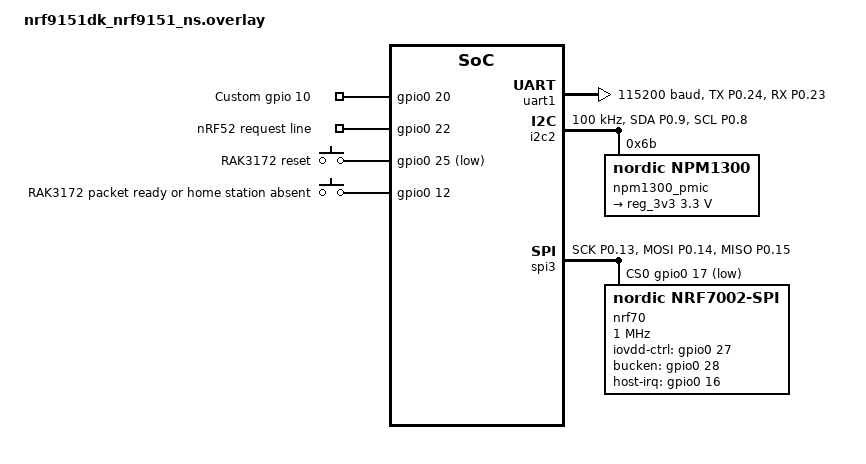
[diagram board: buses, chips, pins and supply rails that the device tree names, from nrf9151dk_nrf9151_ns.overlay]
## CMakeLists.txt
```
cmake_minimum_required(VERSION 3.20)

find_package(Zephyr REQUIRED HINTS $ENV{ZEPHYR_BASE})
project(find_my_cat)

zephyr_library_sources(src/main.c)

# Link all external dependencies

target_sources(app PRIVATE src/LocationEngine/LocationEngine.c)
target_sources(app PRIVATE src/LocationEngine/LocationEngine.h)
target_sources_ifdef(CONFIG_FINDMYCAT_GNSS_ASSISTANCE_SUPL app PRIVATE src/LocationEngine/supl_assistance.c)

target_sources(app PRIVATE src/SmsListener/SmsListener.c)
target_sources(app PRIVATE src/SmsListener/SmsListener.h)

target_sources(app PRIVATE src/UDPListener/UDPListener.c)
target_sources(app PRIVATE src/UDPListener/UDPListener.h)

target_sources(app PRIVATE src/Dispatcher/Dispatcher.c)
target_sources(app PRIVATE src/Dispatcher/Dispatcher.h)


target_sources(app PRIVATE src/Responder/Responder.c)
target_sources(app PRIVATE src/Responder/Responder.h)

target_sources(app PRIVATE src/DeviceSettings/device_settings.c)
target_sources(app PRIVATE src/DeviceSettings/device_settings.h)

target_sources(app PRIVATE src/DeviceStatus/device_status_reporting.c)
target_sources(app PRIVATE src/DeviceStatus/device_status_reporting.h)

target_sources(app PRIVATE src/mqtt/mqttsn.c)
target_sources(app PRIVATE src/mqtt/mqttsn.h)

target_sources(app PRIVATE src/utils/network.c)
target_sources(app PRIVATE src/utils/network.h)

target_sources(app PRIVATE src/LTE/lte.c)
target_sources(app PRIVATE src/LTE/lte.h)

target_sources(app PRIVATE src/SelfRecovery/self_recovery.c)
target_sources(app PRIVATE src/SelfRecovery/self_recovery.h)

target_sources(app PRIVATE src/FOTA/fota.c)
target_sources(app PRIVATE src/FOTA/fota.h)

target_sources(app PRIVATE src/Presence/presence.c)
target_sources(app PRIVATE src/Presence/presence.h)

target_sources(app PRIVATE src/Link/link_orchestrator.c)
target_sources(app PRIVATE src/Link/link_orchestrator.h)

target_sources(app PRIVATE src/LoRa/rak3172.c)
target_sources(app PRIVATE src/LoRa/rak3172.h)

target_sources(app PRIVATE src/LoRa/lora_frame.c)
target_sources(app PRIVATE src/LoRa/lora_frame.h)

target_sources_ifdef(CONFIG_LORA_LINK app PRIVATE src/LoRa/lora_link.c)
target_sources_ifdef(CONFIG_LORA_LINK app PRIVATE src/LoRa/lora_link.h)

target_sources(app PRIVATE src/communication_channels/transport.c)
target_sources(app PRIVATE src/communication_channels/transport.h)

target_sources(app PRIVATE src/WiFi/wifi_location.c)
target_sources(app PRIVATE src/WiFi/wifi_location.h)

target_sources(app PRIVATE src/WiFi/wifi_scan.c)
target_sources(app PRIVATE src/WiFi/wifi_scan.h)

target_sources(app PRIVATE src/CellScan/cell_scan.c)
target_sources(app PRIVATE src/CellScan/cell_scan.h)

target_sources(app PRIVATE src/FuelGauge/fuel_gauge.c)
target_sources(app PRIVATE src/FuelGauge/fuel_gauge.h)

target_sources(app PRIVATE src/led/led.c)
target_sources(app PRIVATE src/led/led.h)

target_sources(app PRIVATE src/shared.h)

# Diagnostics related sources.
target_sources_ifdef(CONFIG_FINDMYCAT_DIAGNOSTICS app PRIVATE src/Diagnostics/diagnostics.c)
target_sources_ifdef(CONFIG_FINDMYCAT_DIAGNOSTICS app PRIVATE src/Diagnostics/diagnostics.h)
target_sources_ifdef(CONFIG_FINDMYCAT_DIAGNOSTICS app PRIVATE src/FuelGauge/diagnostics.c)
target_sources_ifdef(CONFIG_FINDMYCAT_DIAGNOSTICS app PRIVATE src/FuelGauge/diagnostics.h)
target_sources_ifdef(CONFIG_FINDMYCAT_DIAGNOSTICS app PRIVATE src/LTE/diagnostics.c)
target_sources_ifdef(CONFIG_FINDMYCAT_DIAGNOSTICS app PRIVATE src/LTE/diagnostics.h)
target_sources_ifdef(CONFIG_FINDMYCAT_DIAGNOSTICS app PRIVATE src/communication_channels/diagnostics.c)
target_sources_ifdef(CONFIG_FINDMYCAT_DIAGNOSTICS app PRIVATE src/communication_channels/nrf52_diagnostics.c)
target_sources_ifdef(CONFIG_FINDMYCAT_DIAGNOSTICS app PRIVATE src/communication_channels/nrf52_diagnostics.h)
target_sources_ifdef(CONFIG_FINDMYCAT_DIAGNOSTICS app PRIVATE src/WiFi/diagnostics.c)
target_sources_ifdef(CONFIG_FINDMYCAT_DIAGNOSTICS app PRIVATE src/WiFi/diagnostics.h)
target_sources_ifdef(CONFIG_FINDMYCAT_DIAGNOSTICS app PRIVATE src/LocationEngine/diagnostics.c)
target_sources_ifdef(CONFIG_FINDMYCAT_DIAGNOSTICS app PRIVATE src/LocationEngine/diagnostics.h)
target_sources_ifdef(CONFIG_FINDMYCAT_DIAGNOSTICS app PRIVATE src/communication_channels/diagnostics.h)

target_sources(app PRIVATE src/communication_channels/nrf52_link.c)
target_sources(app PRIVATE src/communication_channels/nrf52_link.h)
```

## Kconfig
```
menu "FindMyCat Build Time Configuration options"

config FINDMYCAT_DIAGNOSTICS
	bool "Print self diagnostics for each major feature/component."
	select LED

config FINDMYCAT_LOW_POWER_HOLD
	bool "Holds the firmware at the lowest power, this can be used to verify current leaks in the hardware."
	select FINDMYCAT_DIAGNOSTICS

config FINDMYCAT_LOW_POWER_HOLD_EDRX
	bool "Keep LTE attached in eDRX during the low power hold"
	depends on FINDMYCAT_LOW_POWER_HOLD
	help
	  Everything else stays down, so the measured current is the floor
	  plus the modem idling in eDRX.

config FINDMYCAT_FORCE_LTE_LINK
	bool "Always use LTE to reach the home station, skipping BLE and LoRa"
	help
	  For testing the LTE path at home: LTE attaches at boot and stays up
	  in eDRX, LoRa CAD stays off, and the BLE pin no longer changes the
	  link or the modem's power mode.


config FINDMYCAT_CLOUD_HOSTNAME
	string "Default Hostname of the FindMyCat Cloud, this can be overriden using the iOS/Android App"

module = FINDMYCAT_LTE
module-str = LTE
source "subsys/logging/Kconfig.template.log_config"

# LTE
config FINDMYCAT_LTE_OPERATOR
	string "PLMN to lock the attach to, empty for automatic selection"
	default ""
	help
	  For comparing carriers, e.g. "310410" for AT&T. The modem stores
	  manual selection, so an empty value sets it back to automatic.

config FINDMYCAT_FOTA_HOST
	string "Host the update command downloads firmware from"
	default "https://api.findmycat.io"

config FINDMYCAT_FOTA_FILE
	string "Path of the signed update image on that host"
	default "api/firmware/app_update.bin"

config LTE_CONNECT_RETRY_DELAY_S
	int "Seconds to delay before attempting to retry LTE connection"
	default 20

config LTE_CONNECT_MAX_RETRIES
	int "Max retry attempts for LTE connection"
	default 4

# MQTT-SN
config MQTT_SN_GATEWAY_ID
	int "Id of the MQTT-SN gateway"
	default 1
	help
	  Must match mqtt.sn.gateway_id in the broker's emqx_sn.conf.

config MQTT_SN_GATEWAY_PORT
	int "Port of the MQTT-SN gateway"

config MQTT_SN_BUFFER_SIZE
	int "Size of the TX and RX buffers"
	default 255

config MQTT_SN_LOCATION_TOPIC
	string "MQTT Topic positions are published to"
	default "/location"

config MQTT_SN_STATUS_TOPIC
	string "MQTT Topic device status is published to"
	default "/status"

config MQTT_SN_WIFI_SCAN_TOPIC
	string "MQTT Topic raw WiFi scans are published to over LTE, for the server to resolve"
	default "/wifi-scan"

config MQTT_SN_CELL_SCAN_TOPIC
	string "MQTT Topic raw LTE cell scans are published to, for the server to resolve"
	default "/cell-scan"

config MQTT_SN_REFRESH_PERIOD_SECONDS
	int "MQTT-SN refresh period in seconds"
	default 60

# Location Services.
config LOCATION_SERVICES_INIT_MAX_RETRIES
	int "Max retry attempts for location services initialization"
	default 4

config LOCATION_SERVICES_INIT_RETRY_DELAY_S
	int "Seconds to delay before attempting to retry location services initialization"
	default 20

config FINDMYCAT_GNSS_ASSISTANCE_SUPL
	bool "Fetch GNSS assistance from a SUPL server over LTE"
	select SUPL_CLIENT_LIB
	select LOCATION_SERVICE_EXTERNAL
	select NRF_CLOUD_AGNSS

if FINDMYCAT_GNSS_ASSISTANCE_SUPL

config FINDMYCAT_SUPL_SERVER_HOSTNAME
	string "SUPL server hostname"
	default "supl.google.com"

config FINDMYCAT_SUPL_SERVER_PORT
	int "SUPL server port"
	default 7276
	help
	  7276 is plain TCP on Google's server; 7275 is the TLS port.

endif # FINDMYCAT_GNSS_ASSISTANCE_SUPL

config ACTIVE_MODE_LOCATION_REFRESH_PERIOD_SECONDS
	int "Location refresh period in seconds for Active Mode"
	default 1800	

config LOST_MODE_LOCATION_REFRESH_PERIOD_SECONDS
	int "Location refresh period in seconds for Lost Mode"
	default 30

config SPOOF_PING_BASE_LATITUDE_MICRODEGREES
	int "Latitude a test ping reports, in millionths of a degree"
	default 37423021

config SPOOF_PING_BASE_LONGITUDE_MICRODEGREES
	int "Longitude a test ping reports, in millionths of a degree"
	default -122083739

config SPOOF_PING_JITTER_MICRODEGREES
	int "Random spread applied to a test ping position"
	default 1000

# LORA
config LORA_LINK
	bool "Answer pings over LoRa from the home station"

config LORA_LINK_CAD_SYMBOLS
	int "CAD symbol count index (0=1, 1=2, 2=4, 3=8, 4=16)"
	depends on LORA_LINK
	default 1

config LORA_LINK_CAD_DET_PEAK
	int "CAD detection peak threshold"
	depends on LORA_LINK
	default 22

config LORA_LINK_CAD_DET_MIN
	int "CAD detection minimum"
	depends on LORA_LINK
	default 10

config LORA_LINK_CAD_INTERVAL_MS
	int "Sniff interval in milliseconds"
	depends on LORA_LINK
	default 450

config LORA_LINK_PEER_PREAMBLE
	int "Preamble length in symbols the home station transmits with"
	depends on LORA_LINK
	default 512

config LORA_LINK_CAD_PIN
	int "RUI3 pin number the RAK3172 raises when a packet is buffered"
	default 9

config LORA_LINK_ABSENCE_S
	int "Seconds without a CAD detection before the home station counts as absent"
	depends on LORA_LINK
	default 35

config LORA_LINK_BURST_MS
	int "Milliseconds of CAD sniffing per cycle, 0 to sniff continuously"
	depends on LORA_LINK
	default 1500

config LORA_LINK_BURST_PERIOD_S
	int "Seconds from the start of one sniff burst to the start of the next"
	depends on LORA_LINK
	default 30

config LORA_LINK_HEARTBEAT_S
	int "Seconds between module-sent heartbeats to the station, 0 for none"
	depends on LORA_LINK
	default 60
	help
	  Sent by the RAK3172 itself (AT+HBEAT) at a sniff burst start, so it
	  rounds up to whole burst periods. The station replies inside that
	  burst with a beacon, or a ping when a locate is pending, so this is
	  both the locate latency and the presence refresh. Keep it well under
	  CONFIG_LORA_LINK_ABSENCE_S.

endmenu

menu "Zephyr Kernel"
source "Kconfig.zephyr"
endmenu

module = FINDMYCAT_OUTDOOR_LOCATION_ENGINE
module-str = FindMyCat outdoor location engine
source "${ZEPHYR_BASE}/subsys/logging/Kconfig.template.log_config"
```

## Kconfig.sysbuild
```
config WIFI_NRF70
	default y if BOARD_THINGY91X_NRF9151_NS
	default y if BOARD_NRF9151DK_NRF9151_NS

choice WIFI_NRF70_OPER_MODES
	default WIFI_NRF70_SCAN_ONLY if BOARD_THINGY91X_NRF9151_NS
	default WIFI_NRF70_SCAN_ONLY if BOARD_NRF9151DK_NRF9151_NS
endchoice

source "share/sysbuild/Kconfig"
```

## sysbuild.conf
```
# MCUboot so the app can be updated over the network. Swap-using-move keeps the
# old image to roll back to; both slots live in internal flash.
SB_CONFIG_BOOTLOADER_MCUBOOT=y
SB_CONFIG_MCUBOOT_MODE_SWAP_USING_MOVE=y

# Without a key of our own MCUboot signs with its public development key, so
# anyone could sign an image the collar accepts. Before shipping:
#   imgtool keygen -k ~/findmycat-keys/mcuboot-ecdsa-p256.pem -t ecdsa-p256
# then uncomment and point at it (keep the key out of git):
# SB_CONFIG_BOOT_SIGNATURE_KEY_FILE="/Users/<you>/findmycat-keys/mcuboot-ecdsa-p256.pem"
```

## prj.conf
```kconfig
# General config
CONFIG_FPU=y
CONFIG_NEWLIB_LIBC=y
CONFIG_POSIX_THREADS=y
CONFIG_NEWLIB_LIBC_FLOAT_PRINTF=y
CONFIG_NRF_MODEM_LIB=y
CONFIG_CJSON_LIB=y
CONFIG_SMS=y
CONFIG_SMS_SUBSCRIBERS_MAX_CNT=2
CONFIG_GPIO=y
CONFIG_DATE_TIME=y # Library that maintains the current date time UTC for A-GPS and P-GPS purposes

# nPM1300 fuel gauge
CONFIG_SENSOR=y
CONFIG_LED=y
CONFIG_NRF_FUEL_GAUGE=y

# MQTT-SN config
CONFIG_MQTT_SN_LIB=y
CONFIG_MQTT_SN_TRANSPORT_UDP=y
CONFIG_FINDMYCAT_CLOUD_HOSTNAME="your-findmycat-cloud-hostname"
CONFIG_MQTT_SN_GATEWAY_PORT=1885
CONFIG_MQTT_SN_LOCATION_TOPIC="/location"
CONFIG_MQTT_SN_STATUS_TOPIC="/status"

# nRF Cloud (for A-GNSS and cell location)
CONFIG_NRF_CLOUD=y
# TODO: migrate to CONFIG_NRF_CLOUD_COAP - NRF_CLOUD_REST is deprecated in NCS 3.2.x
CONFIG_NRF_CLOUD_REST=y
CONFIG_MODEM_INFO=y # required by CONFIG_NRF_CLOUD_AGNSS
CONFIG_MODEM_INFO_ADD_NETWORK=y # required by CONFIG_NRF_CLOUD_AGNSS

CONFIG_NET_LOG=y
CONFIG_NRF_CLOUD_LOG_LEVEL_DBG=y
CONFIG_NRF_CLOUD_CLIENT_ID_SRC_IMEI=n
CONFIG_NRF_CLOUD_CLIENT_ID_PREFIX=""
CONFIG_NRF_CLOUD_CLIENT_ID_SRC_INTERNAL_UUID=y

# Heap and stacks
CONFIG_SEGGER_RTT_BUFFER_SIZE_UP=4096
CONFIG_MAIN_STACK_SIZE=4096
# Extended memory heap size needed for encoding REST messages to JSON
CONFIG_HEAP_MEM_POOL_SIZE=8192
CONFIG_SYSTEM_WORKQUEUE_STACK_SIZE=1536
# Increase AT monitor heap because %NCELLMEAS notifications can be large
CONFIG_AT_MONITOR_HEAP_SIZE=1024

# Location library
CONFIG_LOCATION=y
CONFIG_LOCATION_DATA_DETAILS=y

# Network
CONFIG_NETWORKING=y
CONFIG_NET_NATIVE=n
CONFIG_NET_SOCKETS=y
CONFIG_NET_SOCKETS_OFFLOAD=y
CONFIG_NET_IPV6=n
CONFIG_NET_IPV4=n

# LTE link control
CONFIG_LTE_LINK_CONTROL=y
CONFIG_LTE_NETWORK_MODE_LTE_M_GPS=y
CONFIG_LTE_LC_EDRX_MODULE=y
CONFIG_LTE_LC_PSM_MODULE=y
# eDRX
CONFIG_LTE_EDRX_REQ=y
CONFIG_LTE_EDRX_REQ_VALUE_LTE_M="0101"
CONFIG_LTE_PTW_VALUE_LTE_M="0000"
# RAI
CONFIG_LTE_LC_RAI_MODULE=y
CONFIG_LTE_RAI_REQ=y
# Signal and CE level for the diagnostics and power hold
CONFIG_LTE_LC_CONN_EVAL_MODULE=y
# Cell measurements for ping-cell
CONFIG_LTE_LC_NEIGHBOR_CELL_MEAS_MODULE=y

# AT Host library - Used to send AT commands directy from an UART terminal and to allow
#		    integration with nRF Connect for Desktop LTE Link monitor application.
CONFIG_UART_INTERRUPT_DRIVEN=y
CONFIG_RING_BUFFER=y
CONFIG_AT_HOST_LIBRARY=n

# Uncomment the below and set above to "n" to test no - assisted gps.
# TODO: can we use external AGPS service that is free?
# CONFIG_LOCATION_SERVICE_EXTERNAL=y
# CONFIG_MULTICELL_LOCATION_SERVICE_NRF_CLOUD=n
# CONFIG_LOCATION_SERVICE_NRF_CLOUD=n

# Modem JWT
CONFIG_MODEM_JWT=y
CONFIG_MODEM_KEY_MGMT=y
CONFIG_HW_ID_LIBRARY=y

# Device power management (allows UART to be suspended between sends)
CONFIG_PM_DEVICE=y
CONFIG_PM_DEVICE_RUNTIME=y

# Refresh rates
CONFIG_MQTT_SN_REFRESH_PERIOD_SECONDS=5
CONFIG_ACTIVE_MODE_LOCATION_REFRESH_PERIOD_SECONDS=1800
CONFIG_LOST_MODE_LOCATION_REFRESH_PERIOD_SECONDS=30

# LoRa
CONFIG_LORA_LINK=y
CONFIG_LORA_LINK_CAD_SYMBOLS=2
CONFIG_LORA_LINK_CAD_INTERVAL_MS=185
CONFIG_LORA_LINK_PEER_PREAMBLE=384
CONFIG_LORA_LINK_BURST_MS=1500
# Test: 10 s cycle for quick range tests; normal is 60 for both.
CONFIG_LORA_LINK_BURST_PERIOD_S=10
CONFIG_LORA_LINK_HEARTBEAT_S=10
CONFIG_LORA_LINK_CAD_PIN=9
# Rides out a few missed beacons at the edge of range.
CONFIG_LORA_LINK_ABSENCE_S=60

# MCUboot image management: confirm the running image after boot, and later
# write network updates into the secondary slot
CONFIG_FLASH=y
CONFIG_FLASH_MAP=y
CONFIG_STREAM_FLASH=y
CONFIG_IMG_MANAGER=y
CONFIG_MCUBOOT_IMG_MANAGER=y
CONFIG_IMG_ERASE_PROGRESSIVELY=y

# Network updates: the update command downloads into the secondary slot
CONFIG_FOTA_DOWNLOAD=y
CONFIG_FOTA_DOWNLOAD_PROGRESS_EVT=y
CONFIG_DOWNLOADER=y
CONFIG_DOWNLOADER_STACK_SIZE=4096
CONFIG_DFU_TARGET=y
CONFIG_REBOOT=y

# Self recovery: a hang, crash or modem fault reboots, and the next boot reports why
CONFIG_WATCHDOG=y
CONFIG_HWINFO=y
CONFIG_NRF_MODEM_LIB_ON_FAULT_APPLICATION_SPECIFIC=y
```

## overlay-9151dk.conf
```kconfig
# nRF9151 DK / U3B overrides. Free uart1 for the RAK3172 LoRa module
# (uart1 is otherwise reserved for modem traces).
CONFIG_NRF_MODEM_LIB_TRACE=n

# WiFi location via hand-wired nRF7002 (scan-only, WIFI_NRF70 set via Kconfig.sysbuild)
CONFIG_WIFI=y
CONFIG_WIFI_NM_WPA_SUPPLICANT=n
CONFIG_NRF_WIFI_IF_AUTO_START=n
CONFIG_LOCATION_METHOD_WIFI=y

CONFIG_WIFI_RANDOM_MAC_ADDRESS=y
CONFIG_ENTROPY_GENERATOR=y
CONFIG_NET_NATIVE=y
CONFIG_NET_L2_ETHERNET=y
CONFIG_NET_DEFAULT_IF_ETHERNET=n
CONFIG_NET_IPV4=y

# Two net interfaces (LTE modem + nRF7002), so allow an IPv4 address for each
CONFIG_NET_IF_MAX_IPV4_COUNT=2
CONFIG_MBEDTLS=n
CONFIG_NORDIC_SECURITY_BACKEND=n
CONFIG_NRF_WIFI_CTRL_HEAP_SIZE=10240
CONFIG_HEAP_MEM_POOL_SIZE=32768
CONFIG_HEAP_MEM_POOL_IGNORE_MIN=y
CONFIG_WIFI_LOG_LEVEL_DBG=y
```

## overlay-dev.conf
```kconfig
CONFIG_LOG=y
CONFIG_LOG_MODE_IMMEDIATE=y
CONFIG_SERIAL=y
CONFIG_USE_SEGGER_RTT=y
CONFIG_RTT_CONSOLE=y
CONFIG_UART_CONSOLE=n
CONFIG_NRF_MODEM_LIB_TRACE=y
CONFIG_FINDMYCAT_DIAGNOSTICS=y
CONFIG_FINDMYCAT_OUTDOOR_LOCATION_ENGINE_LOG_LEVEL_DBG=y
CONFIG_FINDMYCAT_LTE_LOG_LEVEL_INF=y
CONFIG_SMS_LOG_LEVEL_WRN=y
CONFIG_MQTT_SN_LOG_LEVEL_WRN=y
CONFIG_LTE_LINK_CONTROL_LOG_LEVEL_WRN=y
CONFIG_NRF_CLOUD_GPS_LOG_LEVEL_WRN=y
```

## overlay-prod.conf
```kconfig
CONFIG_LOG=n
CONFIG_SERIAL=y
CONFIG_USE_SEGGER_RTT=n
CONFIG_RTT_CONSOLE=n
CONFIG_UART_CONSOLE=n
CONFIG_NRF_MODEM_LIB_TRACE=n

CONFIG_BOOT_BANNER=n
CONFIG_PRINTK=n
CONFIG_LOG=n
```

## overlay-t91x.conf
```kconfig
# Thingy:91 X overrides, free uart1 for RAK3172 LoRa module.
# uart1 is normally reserved for modem traces and TFM logging; both are
# disabled here so the NS app can own it.
CONFIG_NRF_MODEM_LIB_TRACE=n
CONFIG_TFM_LOG_LEVEL_SILENCE=y
CONFIG_USE_SEGGER_RTT=y
CONFIG_RTT_CONSOLE=y
CONFIG_UART_CONSOLE=n

# WiFi location via nRF7002 companion IC (scan-only, WIFI_NRF70 set via Kconfig.sysbuild)
CONFIG_WIFI=y
CONFIG_WIFI_NM_WPA_SUPPLICANT=n
CONFIG_NRF_WIFI_IF_AUTO_START=n
CONFIG_LOCATION_METHOD_WIFI=y
CONFIG_NET_NATIVE=y
CONFIG_NET_L2_ETHERNET=y
CONFIG_NET_DEFAULT_IF_ETHERNET=n
CONFIG_NET_IPV4=y
# Two net interfaces (LTE modem + nRF7002), so allow an IPv4 address for each
CONFIG_NET_IF_MAX_IPV4_COUNT=2
CONFIG_MBEDTLS=n
CONFIG_NORDIC_SECURITY_BACKEND=n
CONFIG_NRF_WIFI_CTRL_HEAP_SIZE=10240
CONFIG_HEAP_MEM_POOL_SIZE=32768
CONFIG_HEAP_MEM_POOL_IGNORE_MIN=y
CONFIG_WIFI_LOG_LEVEL_DBG=y
```

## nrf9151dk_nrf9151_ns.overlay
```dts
/*
 * FindMyCat NRF9151 custom board (U3B) / nRF9151 DK with hand-wired companions.
 *
 *   SERIAL0  uart0  console
 *   SERIAL1  uart1  RAK3172 LoRa     TX=P0.24  RX=P0.23
 *   SERIAL2  i2c2   nPM1300 PMIC     SDA=P0.09 SCL=P0.08  (addr 0x6b, Thingy-matched)
 *                   shared bus: also reaches the nRF52/DWM at 0x42 (see
 *                   src/communication_channels/nrf52_link.h); that peer has no DT node.
 *   SERIAL3  spi3   nRF7002 Wi-Fi    SCK=P0.13 MOSI=P0.14 MISO=P0.15
 *                   CS=P0.17  IRQ=P0.16  VDDIO_CTRL=P0.27  ENABLE/BUCKEN=P0.28
 *
 *   P0.20    NRF_91_CELL_MODE: engine drives low for eDRX + LoRa CAD, high for PSM (gpiocus10)
 *   P0.22    nRF52 request line: either side drives it high (open source), the
 *            52's pull-down holds it low. See nrf52_link.h.
 *   P0.12    RAK3172 wake line: asserted for a buffered packet or for absence
 *            (module pin 20 / PA9, set with AT+CADPIN=9)
 *
 */

#include <zephyr/dt-bindings/regulator/npm13xx.h>

&pinctrl {
    /* RAK3172 LoRa on uart1 */
    uart1_rak_default: uart1_rak_default {
        group1 {
            psels = <NRF_PSEL(UART_TX, 0, 24)>,
                    <NRF_PSEL(UART_RX, 0, 23)>;
        };
    };
    uart1_rak_sleep: uart1_rak_sleep {
        group1 {
            psels = <NRF_PSEL(UART_TX, 0, 24)>,
                    <NRF_PSEL(UART_RX, 0, 23)>;
            low-power-enable;
        };
    };

    /* nPM1300 on i2c2 */
    i2c2_npm_default: i2c2_npm_default {
        group1 {
            psels = <NRF_PSEL(TWIM_SDA, 0, 9)>,
                    <NRF_PSEL(TWIM_SCL, 0, 8)>;
        };
    };
    i2c2_npm_sleep: i2c2_npm_sleep {
        group1 {
            psels = <NRF_PSEL(TWIM_SDA, 0, 9)>,
                    <NRF_PSEL(TWIM_SCL, 0, 8)>;
            low-power-enable;
        };
    };

    /* nRF7002 Wi-Fi on spi3 */
    spi3_nrf70_default: spi3_nrf70_default {
        group1 {
            psels = <NRF_PSEL(SPIM_SCK, 0, 13)>,
                    <NRF_PSEL(SPIM_MOSI, 0, 14)>,
                    <NRF_PSEL(SPIM_MISO, 0, 15)>;
            nordic,drive-mode = <NRF_DRIVE_H0H1>;
        };
    };
    spi3_nrf70_sleep: spi3_nrf70_sleep {
        group1 {
            psels = <NRF_PSEL(SPIM_SCK, 0, 13)>,
                    <NRF_PSEL(SPIM_MOSI, 0, 14)>,
                    <NRF_PSEL(SPIM_MISO, 0, 15)>;
            low-power-enable;
        };
    };
};

/* The console is on RTT in dev and compiled out in prod, so nothing drives
 * uart0 either way. Left enabled its UARTE still holds HFCLK, which costs a few
 * hundred microamps. Re-enable alongside AT_HOST_LIBRARY, which needs it. */
&uart0 {
    status = "disabled";
};

&uart1 {
    status = "okay";
    current-speed = <115200>;
    pinctrl-0 = <&uart1_rak_default>;
    pinctrl-1 = <&uart1_rak_sleep>;
    pinctrl-names = "default", "sleep";
};

/* nPM1300 main PMIC on i2c2 (SDA=P0.09, SCL=P0.08) */
&i2c2 {
    clock-frequency = <I2C_BITRATE_STANDARD>;
    pinctrl-0 = <&i2c2_npm_default>;
    pinctrl-1 = <&i2c2_npm_sleep>;
    pinctrl-names = "default", "sleep";

    npm1300_pmic: npm1300@6b {
        compatible = "nordic,npm1300";
        status = "okay";
        reg = <0x6b>;
        pmic-int-pin = <3>;

        npm1300_gpios: npm1300_gpios {
            compatible = "nordic,npm1300-gpio";
            status = "okay";
            gpio-controller;
            #gpio-cells = <2>;
            ngpios = <5>;
        };

        npm1300_leds: leds {
            compatible = "nordic,npm1300-led";
            status = "okay";
            nordic,led0-mode = "host";
            nordic,led1-mode = "host";
            /* Red: lit by the PMIC itself while the battery charges. */
            nordic,led2-mode = "charging";
        };

        regulators {
            compatible = "nordic,npm1300-regulator";
            status = "okay";

            reg_3v3: BUCK2 {
                regulator-min-microvolt = <3300000>;
                regulator-max-microvolt = <3300000>;
                regulator-boot-on;
            };

        };

        npm1300_charger: charger {
            compatible = "nordic,npm1300-charger";
            status = "okay";
            vbus-limit-microamp = <500000>;
            /* LiPol LP803448 defaults; adjust to the cell actually fitted */
            term-microvolt = <4200000>;
            current-microamp = <675000>;
            dischg-limit-microamp = <1000000>;
            thermistor-cold-millidegrees = <0>;
            thermistor-cool-millidegrees = <0>;
            thermistor-warm-millidegrees = <45000>;
            thermistor-hot-millidegrees = <45000>;
            thermistor-ohms = <10000>;
            thermistor-beta = <3435>;
            charging-enable;
        };
    };
};

/* nRF7002 Wi-Fi companion on spi3, CS on P0.17 */
&spi3 {
    cs-gpios = <&gpio0 17 GPIO_ACTIVE_LOW>;
    pinctrl-0 = <&spi3_nrf70_default>;
    pinctrl-1 = <&spi3_nrf70_sleep>;
    pinctrl-names = "default", "sleep";

    nrf70: wifi@0 {
        compatible = "nordic,nrf7002-spi";
        status = "okay";
        reg = <0>;
        spi-max-frequency = <DT_FREQ_M(1)>;

        iovdd-ctrl-gpios = <&gpio0 27 (GPIO_ACTIVE_HIGH | GPIO_PULL_DOWN)>;
        bucken-gpios = <&gpio0 28 (GPIO_ACTIVE_HIGH | GPIO_PULL_DOWN)>;
        host-irq-gpios = <&gpio0 16 GPIO_ACTIVE_HIGH>;

        nordic_wlan0: wlan0 {
            compatible = "nordic,wlan";
        };

        wifi-max-tx-pwr-2g-dsss = <21>;
        wifi-max-tx-pwr-2g-mcs0 = <16>;
        wifi-max-tx-pwr-2g-mcs7 = <16>;
        wifi-max-tx-pwr-5g-low-mcs0 = <9>;
        wifi-max-tx-pwr-5g-low-mcs7 = <9>;
        wifi-max-tx-pwr-5g-mid-mcs0 = <11>;
        wifi-max-tx-pwr-5g-mid-mcs7 = <11>;
        wifi-max-tx-pwr-5g-high-mcs0 = <13>;
        wifi-max-tx-pwr-5g-high-mcs7 = <13>;
    };
};

/* Free the on-board flash CS slot so it cannot clash with the nRF70 */
&gd25wb256 {
    status = "disabled";
};

/ {
    chosen {
        zephyr,wifi = &nordic_wlan0;
    };
    gpiocustom {
        compatible = "gpio-keys";
        gpiocus10: gpiocus_10 {
            gpios = <&gpio0 20 GPIO_ACTIVE_HIGH>;
            label = "Custom gpio 10";
        };
        config_ready: config_ready {
            gpios = <&gpio0 22 GPIO_ACTIVE_HIGH>;
            label = "nRF52 request line";
        };
        lora_reset: lora_reset {
            gpios = <&gpio0 25 GPIO_ACTIVE_LOW>;
            label = "RAK3172 reset";
        };
        lora_wake: lora_wake {
            gpios = <&gpio0 12 GPIO_ACTIVE_HIGH>;
            label = "RAK3172 packet ready or home station absent";
        };
    };
    aliases {
        lora-uart = &uart1;
        gpiocus10 = &gpiocus10;
        nrf52-config-ready = &config_ready;
        lora-reset = &lora_reset;
        lora-wake = &lora_wake;
    };
};
```

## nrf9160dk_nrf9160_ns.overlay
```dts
/* RAK3172 LoRa module on uart2: TX=P0.24, RX=P0.25 */
&pinctrl {
    uart2_default: uart2_default {
        group1 {
            psels = <NRF_PSEL(UART_TX, 0, 24)>,
                    <NRF_PSEL(UART_RX, 0, 25)>;
        };
    };
    uart2_sleep: uart2_sleep {
        group1 {
            psels = <NRF_PSEL(UART_TX, 0, 24)>,
                    <NRF_PSEL(UART_RX, 0, 25)>;
            low-power-enable;
        };
    };
};

&uart2 {
    status = "okay";
    current-speed = <115200>;
    pinctrl-0 = <&uart2_default>;
    pinctrl-1 = <&uart2_sleep>;
    pinctrl-names = "default", "sleep";
};

/ {
    gpiocustom {
        compatible = "gpio-keys";
        gpiocus10: gpiocus_10 {
            gpios = <&gpio0 10 GPIO_ACTIVE_HIGH>;
            label = "Custom gpio 10";
        };
        gpiocus11: gpiocus_11 {
            gpios = <&gpio0 11 GPIO_ACTIVE_HIGH>;
            label = "Custom gpio 11";
        };
    };
    aliases {
        lora-uart = &uart2;
        gpiocus10 = &gpiocus10;
        gpiocus11 = &gpiocus11;
    };
};
```

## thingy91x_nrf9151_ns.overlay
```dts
/* Physical connections: TX=P0.24, RX=P0.23 (EXP connector). */
&pinctrl {
    uart0_rak_default: uart0_rak_default {
        group1 {
            psels = <NRF_PSEL(UART_TX, 0, 24)>,
                    <NRF_PSEL(UART_RX, 0, 23)>;
        };
    };
    uart0_rak_sleep: uart0_rak_sleep {
        group1 {
            psels = <NRF_PSEL(UART_TX, 0, 24)>,
                    <NRF_PSEL(UART_RX, 0, 23)>;
            low-power-enable;
        };
    };
};

&uart0 {
    status = "okay";
    current-speed = <115200>;
    pinctrl-0 = <&uart0_rak_default>;
    pinctrl-1 = <&uart0_rak_sleep>;
    pinctrl-names = "default", "sleep";
};

#include <thingy91x_wifi.dtsi>

/ {
    gpiocustom {
        compatible = "gpio-keys";
        gpiocus10: gpiocus_10 { 
	/*TODO: (sahas) this needs to be 20, per the schematic */
            gpios = <&gpio0 21 GPIO_ACTIVE_HIGH>;
            label = "Custom gpio 10";
        };
    };
    aliases {
        lora-uart = &uart0;
        gpiocus10 = &gpiocus10;
    };
    /* aliases { */
    /*     gpiocus10 = &gpiocus10; */
    /* }; */
};
```

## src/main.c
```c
// Libraries
#include <date_time.h>
#include <modem/location.h>
#include <modem/lte_lc.h>
#include <modem/nrf_modem_lib.h>
#include <nrf_modem_at.h>
#include <stdbool.h>
#include <string.h>
#include <zephyr/kernel.h>
#include <zephyr/logging/log.h>

#include <zephyr/dfu/mcuboot.h>
#include <zephyr/drivers/gpio.h>
#include <zephyr/drivers/hwinfo.h>
#include <zephyr/drivers/led.h>

#include <zephyr/sys/atomic.h>

// Application specific imports
#include "DeviceSettings/device_settings.h"
#include "Diagnostics/diagnostics.h"
#include "Dispatcher/Dispatcher.h"
#include "FOTA/fota.h"
#include "FuelGauge/fuel_gauge.h"
#include "LTE/lte.h"
#include "LoRa/lora_link.h"
#include "LoRa/rak3172.h"
#include "LocationEngine/LocationEngine.h"
#include "Presence/presence.h"
#include "SelfRecovery/self_recovery.h"
#include "UDPListener/UDPListener.h"
#include "WiFi/wifi_location.h"
#include "WiFi/wifi_scan.h"
#include "communication_channels/nrf52_link.h"
#include "led/led.h"
#include "mqtt/mqttsn.h"

LOG_MODULE_REGISTER(main, CONFIG_FINDMYCAT_OUTDOOR_LOCATION_ENGINE_LOG_LEVEL);

/* Indoor location engine sends 1 for PSM mode and 0 for eDRX mode */
#define POWER_MODE_COMMAND_PIN DT_ALIAS(gpiocus10)

static const struct gpio_dt_spec power_mode_command_recv_pin =
    GPIO_DT_SPEC_GET_OR(POWER_MODE_COMMAND_PIN, gpios, {0});

static struct fmc_config fmc_config_nrf52;
static struct k_work_delayable fmc_nrf52_config__work;

/**
 * @brief Initialize location services.
 */
static int initialize_location_services() {
  /* A-GPS/P-GPS needs to know the current time. */
  if (IS_ENABLED(CONFIG_DATE_TIME)) {
    LOG_INF("Waiting for current time");

    /* Wait for an event from the Date Time library. */
    lte_wait_for_time(K_MINUTES(10));

    if (!date_time_is_valid()) {
      LOG_INF("Failed to get current time. Continuing anyway.");
    }
  }

  int err = location_ensure_init();
  if (err) {
    LOG_INF("Initializing the Location library failed, error: %d", err);
    return -1;
  }

  return err;
}

#define POWER_MODE_COMMAND_DEBOUNCE_MS 100

static struct k_work_delayable power_mode_work;

/* Low (eDRX) means the home station is out of BLE range, so CAD runs. */
static void power_mode_work_handler(struct k_work *work) {
  ARG_UNUSED(work);

  int power_mode_command = gpio_pin_get_dt(&power_mode_command_recv_pin);

  /* Forced LTE stays in eDRX: PSM would leave it unreachable for pings. */
  if (IS_ENABLED(CONFIG_FINDMYCAT_FORCE_LTE_LINK)) {
    presence_set_ble(power_mode_command == 1);
    return;
  }

  if (power_mode_command == 0) {
    LOG_INF("Power mode set to eDRX");
    lte_lc_psm_req(false);
    lte_lc_edrx_req(true);

  } else if (power_mode_command == 1) {
    LOG_INF("Power mode set to PSM");
    lte_lc_psm_req(true);
    lte_lc_edrx_req(false);
  }

  presence_set_ble(power_mode_command == 1);
}

/* ISR: each edge pushes the read out, so it lands on the settled level. */
static void powermode_command_recieved__cb(const struct device *port,
                                           struct gpio_callback *cb,
                                           uint32_t pins) {
  ARG_UNUSED(port);
  ARG_UNUSED(cb);
  ARG_UNUSED(pins);
  k_work_reschedule(&power_mode_work, K_MSEC(POWER_MODE_COMMAND_DEBOUNCE_MS));
}

static struct gpio_callback pwr_mode_cb_data;

#define NRF52_CONFIG_MAX_RETRIES 5

static int config_retries;

static void nrf52_config_work_handler(struct k_work *work) {
  ARG_UNUSED(work);

  (void)fuel_gauge_push();

  /* Before the config ack, which closes the 52's bus window. */
  uint8_t light_mask;
  if (nrf52_take_light_request(&light_mask) == 0 && light_mask != 0) {
    light__led_blink(light_mask);
  }

  /* On a transient failure, retry while the data-ready line is still asserted:
   * the nRF52 holds it high until we ack, so a held-high line means "still
   * pending" and there is no fresh edge to re-trigger us. */
  int ret = nrf52_read_config(&fmc_config_nrf52);
  if (ret == -ENODATA) {
    return;
  }
  if (ret != 0) {
    if (nrf52_link_requested() &&
        ++config_retries < NRF52_CONFIG_MAX_RETRIES) {
      k_work_reschedule(&fmc_nrf52_config__work, K_MSEC(100));
    } else {
      LOG_WRN("nRF52 config unreadable after %d tries", config_retries);
    }
    return;
  }

  config_retries = 0;

  device_settings_load_from_config(fmc_config_nrf52.settings,
                                   sizeof(fmc_config_nrf52.settings));
  /* Links may already run on defaults; move them to the stored values. */
  presence_reevaluate();
  initialize_mqttsn_config(fmc_config_nrf52.device_id, fmc_config_nrf52.host);
#if defined(CONFIG_LORA_LINK)
  lora_link_restart_sniffing();
  lora_link_set_device_id(fmc_config_nrf52.device_id);
#endif
}

/**
 * @brief The 52 raised the request line; defers the i2c work to a workitem.
 */
static void nrf52_request_isr(void) {
  config_retries = 0;
  k_work_schedule(&fmc_nrf52_config__work, K_NO_WAIT);
}

/**
 * @brief Application entry point.
 */
int main(void) {

  LOG_INF("*******************************");
  LOG_INF("Welcome to FindMyCat v3.0 Preview");
  LOG_INF("*******************************");

  int err;
  int retry_count = 0;

  (void)self_recovery_start();

  /* Stored values arrive later with the nRF52's config. */
  device_settings_init_defaults();

  err = nrf_modem_lib_init();
  if (err) {
    LOG_ERR("Error: Failed to initialize nrf modem library, error: %d", err);
    return -1;
  }

  err = rak3172_init();
  if (err != 0) {
    LOG_ERR(
        "Error: RAK3172 LoRa initializing failed (%d), continuing without LoRa",
        err);
  }

  boot_led_blink();

  k_work_init_delayable(&fmc_nrf52_config__work, nrf52_config_work_handler);
  err = nrf52_link_init(nrf52_request_isr);
  if (err != 0) {
    LOG_ERR("Error: nRF52 link init failed (%d)", err);
  }

#if defined(CONFIG_FINDMYCAT_DIAGNOSTICS) &&                                   \
    !defined(CONFIG_FINDMYCAT_LOW_POWER_HOLD)
  onboard_diagnostics_run();
#endif

retry:
  if (!device_is_ready(power_mode_command_recv_pin.port)) {
    LOG_ERR("Error: Device %s is not ready",
            power_mode_command_recv_pin.port->name);
    goto retry;
  }

  lte_lc_power_off();

  /* Credentials can only be written with the modem offline, as it is here. */
  if (fota_provision_ca() != 0) {
    LOG_ERR("Error: update certificates not provisioned, updates will fail");
  }

  err = gpio_pin_configure_dt(&power_mode_command_recv_pin, GPIO_INPUT);
  if (err != 0) {
    LOG_ERR("Error %d: failed to configure %s pin %d", err,
            power_mode_command_recv_pin.port->name,
            power_mode_command_recv_pin.pin);
    goto retry;
  }

  err = gpio_pin_interrupt_configure_dt(&power_mode_command_recv_pin,
                                        GPIO_INT_EDGE_BOTH);
  if (err != 0) {
    LOG_ERR("Error %d: failed to configure interrupt on %s pin %d", err,
            power_mode_command_recv_pin.port->name,
            power_mode_command_recv_pin.pin);
    return -1;
  }

  k_work_init_delayable(&power_mode_work, power_mode_work_handler);
  gpio_init_callback(&pwr_mode_cb_data, powermode_command_recieved__cb,
                     BIT(power_mode_command_recv_pin.pin));
  gpio_add_callback(power_mode_command_recv_pin.port, &pwr_mode_cb_data);

  err = fuel_gauge_start();
  if (err != 0) {
    LOG_ERR("Error: Fuel gauge start failed (%d)", err);
  }

  /* Init got this far, so keep this image. An update that crashes before
   * here is never confirmed, and MCUboot rolls back to the old one on reset. */
  if (!boot_is_img_confirmed()) {
    err = boot_write_img_confirmed();
    LOG_INF("Firmware image confirmed (%d)", err);
  }

#if defined(CONFIG_FINDMYCAT_LOW_POWER_HOLD)
  diagnostics_low_power_hold();
  return 0;
#endif

  presence_set_ble(gpio_pin_get_dt(&power_mode_command_recv_pin) == 1);


#if defined(CONFIG_LORA_LINK)
  err = lora_link_start();
  if (err != 0) {
    LOG_ERR("Error: LoRa link start failed (%d), pings arrive over LTE only",
            err);
  }
#endif

  // Connect to LTE network with retries if necessary.
  // while (retry_count < CONFIG_LTE_CONNECT_MAX_RETRIES) {
  //   err = lte_connect();
  //
  //   if (err) {
  //     LOG_INF("Failed to connect to LTE with error: %d", err);
  //     retry_count++;
  //     k_sleep(K_MSEC(CONFIG_LTE_CONNECT_RETRY_DELAY_S * 1000));
  //   } else {
  //     break;
  //   }
  // }
  //
  // if (retry_count == CONFIG_LTE_CONNECT_MAX_RETRIES) {
  //   LOG_ERR("Max retry limit reached for connecting to LTE, program exiting.");
  //   return -1;
  // }
  //
  // retry_count = 0;
  // // Initialize location services with retries if necessary.
  // while (retry_count < CONFIG_LOCATION_SERVICES_INIT_MAX_RETRIES) {
  //   err = initialize_location_services();
  //
  //   if (err) {
  //     LOG_INF("Failed to initialize location services with error: %d", err);
  //     retry_count++;
  //     k_sleep(K_MSEC(CONFIG_LOCATION_SERVICES_INIT_RETRY_DELAY_S * 1000));
  //   } else {
  //     break;
  //   }
  // }
  //
  // if (retry_count == CONFIG_LTE_CONNECT_MAX_RETRIES) {
  //   LOG_ERR("Max retry limit reached for initializing location services, "
  //           "program exiting.");
  //   return -1;
  // }
  //
  // retry_count = 0;
  // // Initialize UDP listener with retries (using the same retry count as
  // // location services)
  // while (retry_count < CONFIG_LOCATION_SERVICES_INIT_MAX_RETRIES) {
  //   err = create_udp_listener();
  //
  //   if (err) {
  //     LOG_INF("Failed to create UDP Listener with error: %d", err);
  //     destroy_udp_listener();
  //     retry_count++;
  //     k_sleep(K_MSEC(CONFIG_LOCATION_SERVICES_INIT_RETRY_DELAY_S * 1000));
  //   } else {
  //     LOG_INF("Created UDP Listener.");
  //     break;
  //   }
  // }
  //
  // // Start the UDP listener thread.
  // start_udp_listener_thread();
  // //
  int tick = 0;

  while (true) {
    enum presence_link link = presence_link_get();

    LOG_INF("Main thread is running. Link = %s%s", presence_link_name(link),
            link == PRESENCE_LINK_LTE ? ". Home station absent" : "");

#if defined(CONFIG_LORA_LINK)
    if (++tick % 8 == 0) {
      // lora_link_log_stats();
    }
#endif
    /* A heartbeat, so it pays for a wake every time it prints. Presence changes
     * are logged from the wake line in lora_link.c as they happen; this only
     * has to say the thread is alive and what the current answer is. */
    k_sleep(K_MSEC(30000));
  }

  return 0;
}
```

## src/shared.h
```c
#define UNCONFIGURED_DEVICE_ID "45740770"
```
